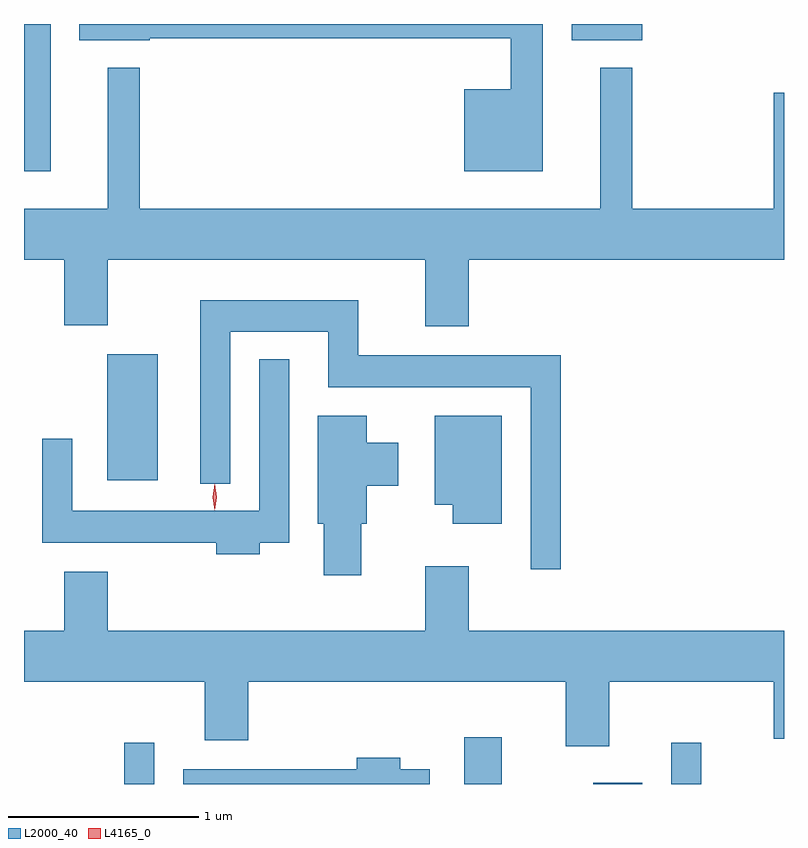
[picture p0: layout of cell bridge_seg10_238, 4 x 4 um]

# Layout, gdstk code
import gdstk
lib = gdstk.Library(unit=1e-6, precision=1e-09)
def R(c, l, rs):  # rectangles x0, y0, x1, y1
    for r in rs: c.add(gdstk.rectangle(r[:2], r[2:], *l))
def P(c, l, *ps):  # polygons
    for p in ps: c.add(gdstk.Polygon(p, *l))
L2000_40 = (2000, 40)
L4165_0 = (4165, 0)

bridge_seg10_238 = lib.new_cell('bridge_seg10_238')
R(bridge_seg10_238, L2000_40, [(1790.076,2097.837,1790.234,2098.053), (1791.866,2097.837,1792.064,2098.084), (1792.546,2097.837,1792.804,2097.844), (1792.956,2097.837,1793.114,2098.053), (1789.986,2099.436,1790.254,2100.099), (1789.549,2101.061,1789.689,2101.837), (1792.431,2101.751,1792.804,2101.837)])
P(bridge_seg10_238, L2000_40, [(1792.279,2101.837),(1789.841,2101.837),(1789.841,2101.751),(1790.21,2101.751),(1790.21,2101.761),(1792.111,2101.761),(1792.111,2101.494),(1791.866,2101.494),(1791.866,2101.061),(1792.279,2101.061)],
  [(1791.889,2100.596),(1793.549,2100.596),(1793.549,2101.474),(1793.496,2101.474),(1793.496,2100.864),(1792.749,2100.864),(1792.749,2101.608),(1792.581,2101.608),(1792.581,2100.864),(1790.159,2100.864),(1790.159,2101.608),(1789.991,2101.608),(1789.991,2100.864),(1789.549,2100.864),(1789.549,2100.596),(1789.761,2100.596),(1789.761,2100.251),(1789.989,2100.251),(1789.989,2100.596),(1791.661,2100.596),(1791.661,2100.246),(1791.889,2100.246)],
  [(1792.374,2100.094),(1791.309,2100.094),(1791.309,2100.384),(1790.476,2100.384),(1790.476,2099.418),(1790.634,2099.418),(1790.634,2100.216),(1791.151,2100.216),(1791.151,2099.926),(1792.216,2099.926),(1792.216,2098.968),(1792.374,2098.968)],
  [(1790.789,2099.106),(1790.944,2099.106),(1790.944,2100.073),(1790.786,2100.073),(1790.786,2099.274),(1789.804,2099.274),(1789.804,2099.653),(1789.646,2099.653),(1789.646,2099.106),(1790.561,2099.106),(1790.561,2099.046),(1790.789,2099.046)],
  [(1791.324,2099.206),(1791.354,2099.206),(1791.354,2099.406),(1791.519,2099.406),(1791.519,2099.634),(1791.354,2099.634),(1791.354,2099.774),(1791.096,2099.774),(1791.096,2099.206),(1791.126,2099.206),(1791.126,2098.936),(1791.324,2098.936)],
  [(1792.064,2099.774),(1791.711,2099.774),(1791.711,2099.306),(1791.806,2099.306),(1791.806,2099.206),(1792.064,2099.206)],
  [(1792.629,2098.376),(1793.496,2098.376),(1793.496,2098.076),(1793.549,2098.076),(1793.549,2098.644),(1791.889,2098.644),(1791.889,2098.984),(1791.661,2098.984),(1791.661,2098.644),(1789.989,2098.644),(1789.989,2098.954),(1789.761,2098.954),(1789.761,2098.644),(1789.549,2098.644),(1789.549,2098.376),(1790.501,2098.376),(1790.501,2098.066),(1790.729,2098.066),(1790.729,2098.376),(1792.401,2098.376),(1792.401,2098.036),(1792.629,2098.036)],
  [(1791.684,2097.914),(1791.529,2097.914),(1791.529,2097.974),(1791.301,2097.974),(1791.301,2097.914),(1790.386,2097.914),(1790.386,2097.837),(1791.684,2097.837)])
P(bridge_seg10_238, L4165_0, [(1790.553,2099.277),(1790.553,2099.278),(1790.543,2099.347),(1790.553,2099.416),(1790.553,2099.416),(1790.554,2099.416),(1790.563,2099.347),(1790.554,2099.278)])

lib.write_gds('bridge_seg10_238.gds')
